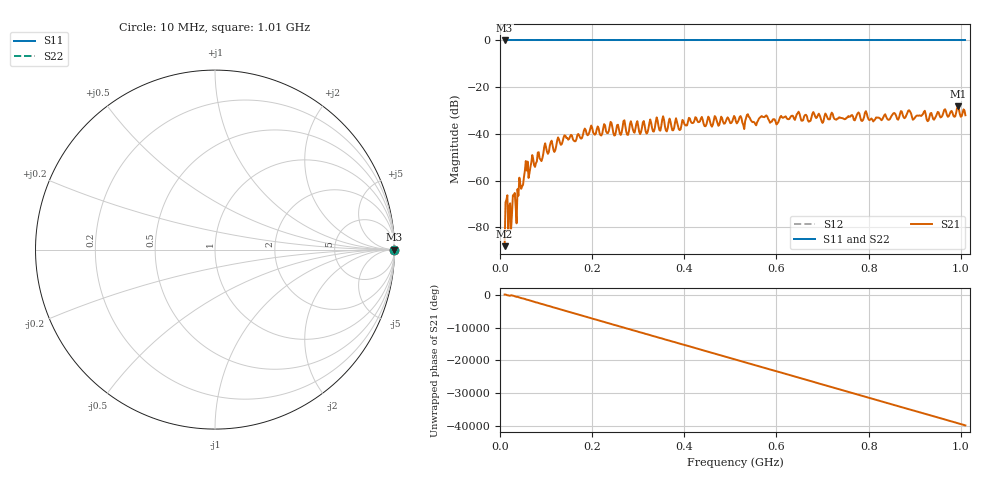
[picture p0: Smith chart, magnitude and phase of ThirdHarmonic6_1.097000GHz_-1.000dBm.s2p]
! 8/16/2025 10:16:43 AM
! C:\ANRITSUVNA\TEMP\TEMP.S2P
! CHANNEL.1
! TR.MEASUREMENT
! RAW.DATA
! RF.CORRECTION.OFF
! AVERAGING.OFF
! IF.BANDWIDTH: 5KHZ
! SWEEPTYPE:  FREQ.SWEEP(Linear)
! Reference Plane Port Info
! PORT:  PORT1  PORT2
! DISTANCE:  0  m  0  m
! TIME:  0  s  0  s
! PHASE.OFFSET:  0  deg.  0  deg.
! LOSS:  0  dB  0  dB
! REF.LOSS:  0  dB  0  dB
! REF.FREQ:  0  Hz  0  Hz
! Power Info
! POWER:  -20  dBm  -20  dBm
! EFF.POWER:  -20  dBm  -20  dBm
! SOURCE.ATTEN:  0  dB  0  dB
! TEST.ATTEN:  0  dB  0  dB
# GHZ S RI R 50.0
! FREQ.GHZ  S11RE  S11IM  S21RE  S21IM  S12RE  S12IM  S22RE  S22IM
!; PortSelection: Port_12
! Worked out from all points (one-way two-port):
!   501 points, 10 MHz to 1.01 GHz, reference 50 ohm
!   highest |S21| = -28.11 dB at 994 MHz (marker M1); lowest = -88.0 dB at 10 MHz (marker M2)
!   lowest |S11| = 0.0 dB at 10 MHz (marker M3)
!   |S11| at or under -10 dB: nowhere
!   |S22| runs from 0.0 to 0.0 dB; largest |S21 - S12| = 1
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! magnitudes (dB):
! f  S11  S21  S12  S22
! 10 MHz  0.0  -88.0  0.0  0.0
! 16 MHz  0.0  -66.2  0.0  0.0
! 22 MHz  0.0  -69.7  0.0  0.0
! 30 MHz  0.0  -66.6  0.0  0.0
! 36 MHz  0.0  -78.3  0.0  0.0
! 56 MHz  0.0  -51.6  0.0  0.0
! 110 MHz  0.0  -43.7  0.0  0.0
! 178 MHz  0.0  -41.7  0.0  0.0
! 240 MHz  0.0  -34.8  0.0  0.0
! 248 MHz  0.0  -40.7  0.0  0.0
! 270 MHz  0.0  -34.2  0.0  0.0
! 276 MHz  0.0  -40.3  0.0  0.0
! 344 MHz  0.0  -36.6  0.0  0.0
! 510 MHz  0.0  -32.9  0.0  0.0
! 538 MHz  0.0  -31.6  0.0  0.0
! 554 MHz  0.0  -35.8  0.0  0.0
! 576 MHz  0.0  -32.3  0.0  0.0
! 602 MHz  0.0  -35.5  0.0  0.0
! 678 MHz  0.0  -31.4  0.0  0.0
! 844 MHz  0.0  -34.0  0.0  0.0
! 994 MHz  0.0  -28.1  0.0  0.0
! 1.01 GHz  0.0  -32.0  0.0  0.0
